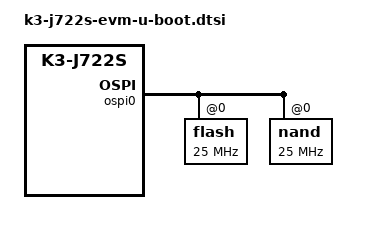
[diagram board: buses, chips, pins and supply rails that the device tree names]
// SPDX-License-Identifier: GPL-2.0
/*
 * Common J722S EVM dts file for SPLs
 * Copyright (C) 2024 Texas Instruments Incorporated - https://www.ti.com/
 */

#include "k3-j722s-binman.dtsi"

/ {
	chosen {
		stdout-path = "serial2:115200n8";
		tick-timer = &main_timer0;
	};
};

&dmsc {
	bootph-pre-ram;
};

&main_bcdma {
	bootph-pre-ram;
};

&ospi0 {
	flash@0 {
		spi-max-frequency = <25000000>;
	};

	nand@0 {
		spi-max-frequency = <25000000>;
	};
};
